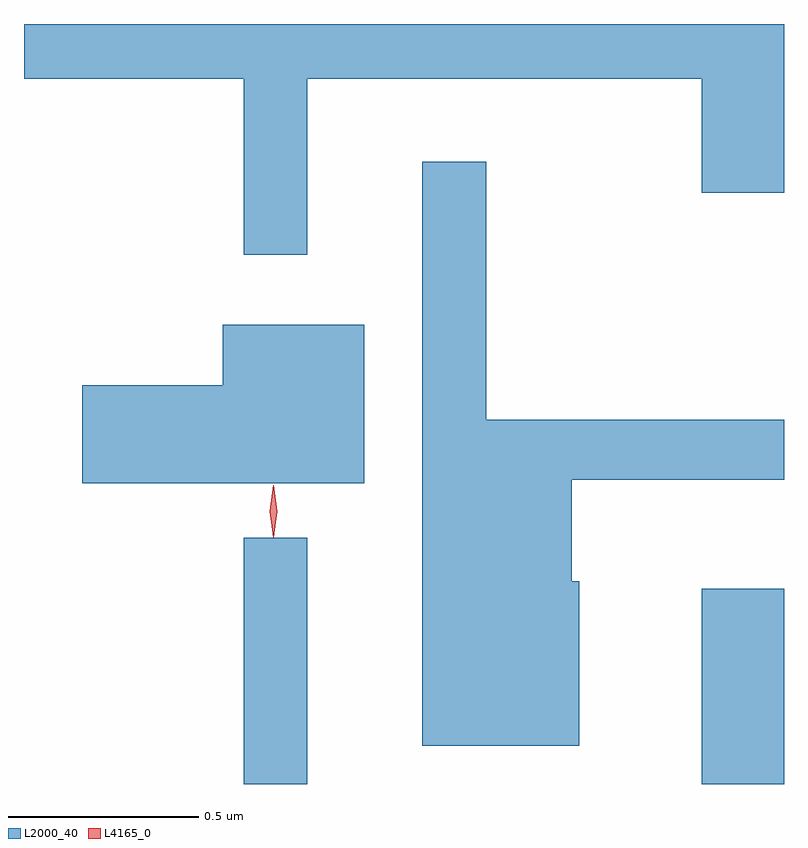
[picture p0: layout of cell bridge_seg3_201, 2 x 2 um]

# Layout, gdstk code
import gdstk
lib = gdstk.Library(unit=1e-6, precision=1e-09)
def R(c, l, rs):  # rectangles x0, y0, x1, y1
    for r in rs: c.add(gdstk.rectangle(r[:2], r[2:], *l))
def P(c, l, *ps):  # polygons
    for p in ps: c.add(gdstk.Polygon(p, *l))
L2000_40 = (2000, 40)
L4165_0 = (4165, 0)

bridge_seg3_201 = lib.new_cell('bridge_seg3_201')
R(bridge_seg3_201, L2000_40, [(873.211,1146.36,873.379,1147.008), (874.416,1146.36,874.633,1146.874)])
P(bridge_seg3_201, L2000_40, [(873.379,1148.216),(874.416,1148.216),(874.416,1147.916),(874.633,1147.916),(874.633,1148.36),(872.633,1148.36),(872.633,1148.216),(873.211,1148.216),(873.211,1147.753),(873.379,1147.753)],
  [(874.094,1146.894),(874.074,1146.894),(874.074,1147.161),(874.633,1147.161),(874.633,1147.319),(873.849,1147.319),(873.849,1147.998),(873.681,1147.998),(873.681,1146.461),(874.094,1146.461)],
  [(873.529,1147.569),(873.156,1147.569),(873.156,1147.409),(872.786,1147.409),(872.786,1147.151),(873.529,1147.151)])
P(bridge_seg3_201, L4165_0, [(873.29,1147.013),(873.289,1147.014),(873.28,1147.076),(873.289,1147.139),(873.289,1147.14),(873.29,1147.139),(873.3,1147.076),(873.29,1147.014)],
  [(873.289,1147.01),(873.28,1147.078),(873.289,1147.146),(873.289,1147.146),(873.29,1147.146),(873.299,1147.078),(873.29,1147.01),(873.29,1147.01)])

lib.write_gds('bridge_seg3_201.gds')
